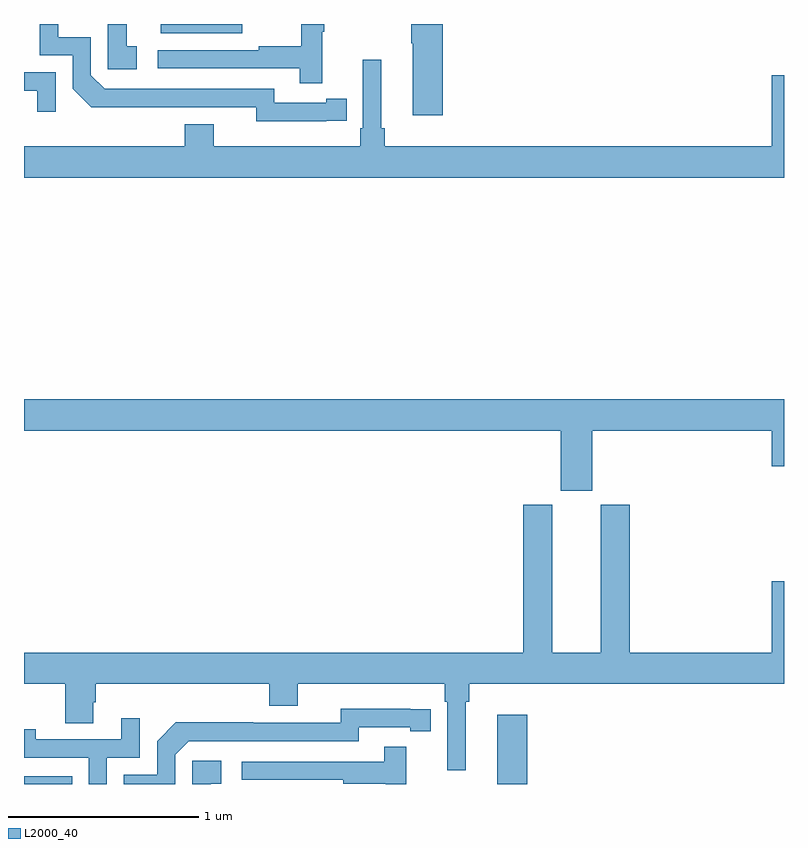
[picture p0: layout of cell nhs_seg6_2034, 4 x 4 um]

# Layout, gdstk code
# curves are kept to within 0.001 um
import gdstk
lib = gdstk.Library(unit=1e-6, precision=1e-09)
def R(c, l, rs):  # rectangles x0, y0, x1, y1
    for r in rs: c.add(gdstk.rectangle(r[:2], r[2:], *l))
def P(c, l, *ps):  # polygons
    for p in ps: c.add(gdstk.Polygon(p, *l))
L2000_40 = (2000, 40)

nhs_seg6_2034 = lib.new_cell('nhs_seg6_2034')
R(nhs_seg6_2034, L2000_40, [(233,921.5,233.255,921.54), (235.49,921.5,235.649,921.865), (233.72,925.451,234.148,925.5)])
P(nhs_seg6_2034, L2000_40, [(234.59,924.99),(234.698,924.99),(234.698,925.106),(234.59,925.106),(234.59,925.086),(234.318,925.086),(234.318,925.158),(233.424,925.158),(233.352,925.23),(233.352,925.431),(233.179,925.431),(233.179,925.5),(233.082,925.5),(233.082,925.335),(233.256,925.335),(233.256,925.158),(233.354,925.061),(234.222,925.062),(234.222,924.989)],
  [(234.569,925.459),(234.58,925.459),(234.58,925.5),(234.459,925.5),(234.459,925.382),(234.235,925.382),(234.235,925.362),(233.703,925.362),(233.703,925.266),(234.451,925.266),(234.451,925.188),(234.569,925.188)],
  [(235.205,925.5),(235.039,925.5),(235.039,925.399),(235.046,925.399),(235.046,925.02),(235.205,925.02)],
  [(233.593,925.383),(233.54,925.383),(233.54,925.5),(233.442,925.5),(233.442,925.263),(233.593,925.263)],
  [(237,925.231),(236.936,925.231),(236.936,924.856),(234.899,924.856),(234.899,924.952),(234.88,924.952),(234.88,925.312),(234.783,925.312),(234.783,924.952),(234.77,924.952),(234.77,924.856),(233.998,924.856),(233.998,924.973),(233.846,924.973),(233.846,924.856),(233,924.856),(233,924.692),(237,924.692)],
  [(233.166,925.245),(233,925.245),(233,925.149),(233.069,925.149),(233.069,925.038),(233.166,925.038)],
  [(235.99,923.36),(236.936,923.36),(236.936,923.172),(237,923.172),(237,923.524),(233,923.524),(233,923.36),(235.826,923.36),(235.826,923.043),(235.99,923.043)],
  [(235.324,921.932),(235.343,921.932),(235.343,922.028),(237,922.028),(237,922.567),(236.936,922.567),(236.936,922.192),(236.189,922.192),(236.189,922.971),(236.036,922.971),(236.036,922.192),(235.78,922.192),(235.78,922.971),(235.628,922.971),(235.628,922.192),(233,922.192),(233,922.028),(233.218,922.028),(233.218,921.82),(233.365,921.82),(233.365,921.93),(233.378,921.93),(233.378,922.028),(234.29,922.028),(234.29,921.911),(234.442,921.911),(234.442,922.028),(235.214,922.028),(235.214,921.932),(235.227,921.932),(235.227,921.573),(235.324,921.573)],
  [(233.796,921.654),(233.868,921.726),(234.762,921.726),(234.762,921.798),(235.034,921.798),(235.034,921.778),(235.142,921.778),(235.142,921.894),(234.666,921.895),(234.666,921.822),(234.206,921.822),(234.206,921.824),(233.798,921.824),(233.7,921.726),(233.7,921.549),(233.526,921.549),(233.526,921.5),(233.796,921.5)],
  [(233.436,921.639),(233.61,921.639),(233.61,921.847),(233.513,921.847),(233.513,921.735),(233.062,921.735),(233.062,921.787),(233,921.787),(233,921.639),(233.34,921.639),(233.34,921.5),(233.436,921.5)],
  [(235.013,921.697),(234.895,921.697),(234.895,921.618),(234.147,921.618),(234.147,921.522),(234.679,921.522),(234.679,921.502),(234.903,921.502),(234.903,921.5),(235.013,921.5)],
  [(233.984,921.501),(234.037,921.501),(234.037,921.622),(233.886,921.622),(233.886,921.5),(233.984,921.5)])

lib.write_gds('nhs_seg6_2034.gds')
